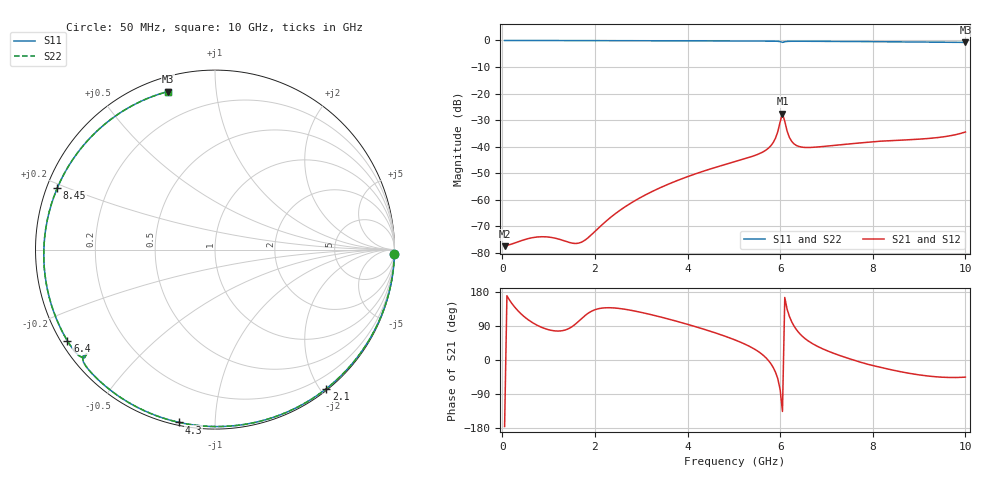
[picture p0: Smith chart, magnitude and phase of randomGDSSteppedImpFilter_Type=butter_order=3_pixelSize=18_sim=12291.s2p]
! freq	dB(S11)	phase(S11)	dB(S12)	phase(S12)
!  dB(S21)	phase(S21)	dB(S22)	phase(S22)
!S-par simulation data
#  GHz  S  DB  R 50
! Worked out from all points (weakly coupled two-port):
!   200 points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, 50 MHz to 10 GHz, reference 50 ohm
!   highest |S21| = -27.51 dB at 6.05 GHz (marker M1); lowest = -77.4 dB at 50 MHz (marker M2)
!   lowest |S11| = -0.7 dB at 10 GHz (marker M3), VSWR 23.73, Z = 3.27 + j37.2 ohm
!   |S11| at or under -10 dB: nowhere
!   |S22| runs from -0.7 to 0.0 dB; largest |S21 - S12| = 0
!   S11 on the Smith chart (normalised r, x): 50 MHz: 0, -92; 2.1 GHz: 0.02, -2.08; 4.3 GHz: 0.01, -0.81; 6.4 GHz: 0.02, -0.28; 8.45 GHz: 0.03, +0.19; 10 GHz: 0.07, +0.74
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0.05  -0.00 -1.3  -77.42 -175.5  -77.42 -175.5  -0.00 -1.3
0.8  -0.02 -19.9  -73.90 88.8  -73.90 88.8  -0.02 -19.9
1.55  -0.05 -38.1  -76.38 91.9  -76.38 91.9  -0.05 -38.1
1.75  -0.05 -42.9  -75.55 113.5  -75.55 113.5  -0.05 -42.9
2.1  -0.07 -51.3  -70.24 135.9  -70.24 135.9  -0.07 -51.3
2.7  -0.08 -65.4  -62.05 132.9  -62.05 132.9  -0.08 -65.4
3.4  -0.11 -81.4  -55.50 114.1  -55.50 114.1  -0.11 -81.4
4.3  -0.15 -101.6  -49.45 83.2  -49.45 83.2  -0.15 -101.6
5.05  -0.19 -118.3  -45.49 51.7  -45.49 51.7  -0.19 -118.3
5.55  -0.22 -129.6  -42.62 20.5  -42.62 20.5  -0.22 -129.6
5.8  -0.25 -135.5  -39.61 -9.8  -39.61 -9.8  -0.25 -135.5
5.9  -0.28 -138.1  -36.75 -32.3  -36.75 -32.3  -0.28 -138.1
6.05  -0.71 -140.9  -27.51 -135.7  -27.51 -135.7  -0.71 -140.9
6.2  -0.31 -143.2  -36.50 115.0  -36.50 115.0  -0.31 -143.2
6.3  -0.29 -145.8  -38.93 89.5  -38.93 89.5  -0.29 -145.8
6.4  -0.29 -148.3  -39.88 72.6  -39.88 72.6  -0.29 -148.3
6.7  -0.31 -155.5  -40.23 43.0  -40.23 43.0  -0.31 -155.5
7.55  -0.40 -176.6  -38.85 1.2  -38.85 1.2  -0.40 -176.6
8.35  -0.49 161.6  -37.75 -24.5  -37.75 -24.5  -0.49 161.6
8.45  -0.51 158.7  -37.67 -27.1  -37.67 -27.1  -0.51 158.7
9.2  -0.61 135.2  -36.89 -42.4  -36.89 -42.4  -0.61 135.3
10  -0.73 106.6  -34.45 -45.1  -34.45 -45.1  -0.73 106.7
